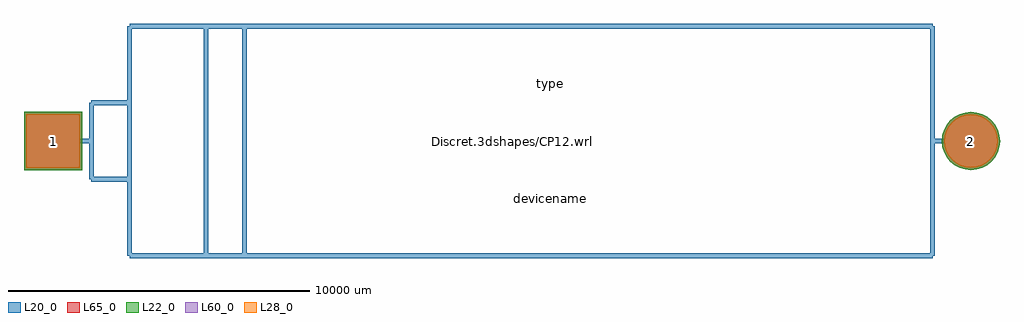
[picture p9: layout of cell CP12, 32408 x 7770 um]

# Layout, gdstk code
import gdstk
lib = gdstk.Library(unit=1e-6, precision=1e-09)
def R(c, l, rs):  # rectangles x0, y0, x1, y1
    for r in rs: c.add(gdstk.rectangle(r[:2], r[2:], *l))
def P(c, l, *ps):  # polygons
    for p in ps: c.add(gdstk.Polygon(p, *l))
L20_0 = (20, 0)
L22_0 = (22, 0)
L28_0 = (28, 0)
L60_0 = (60, 0)
L65_0 = (65, 0)

cp12 = lib.new_cell('CP12')
R(cp12, L22_0, [(-16204,-964,-14276,964)])
P(cp12, L22_0, [(16204,0),(16185.477,188.067),(16130.62,368.907),(16041.537,535.57),(15921.651,681.651),(15775.57,801.537),(15608.907,890.62),(15428.067,945.477),(15240,964),(15051.933,945.477),(14871.093,890.62),(14704.43,801.537),(14558.349,681.651),(14438.463,535.57),(14349.38,368.907),(14294.523,188.067),(14276,0),(14294.523,-188.067),(14349.38,-368.907),(14438.463,-535.57),(14558.349,-681.651),(14704.43,-801.537),(14871.093,-890.62),(15051.933,-945.477),(15240,-964),(15428.067,-945.477),(15608.907,-890.62),(15775.57,-801.537),(15921.651,-681.651),(16041.537,-535.57),(16130.62,-368.907),(16185.477,-188.067)])
R(cp12, L28_0, [(-16129,-889,-14351,889)])
P(cp12, L28_0, [(16129,0),(16111.918,173.435),(16061.329,340.206),(15979.176,493.902),(15868.618,628.618),(15733.902,739.176),(15580.206,821.329),(15413.435,871.918),(15240,889),(15066.565,871.918),(14899.794,821.329),(14746.098,739.176),(14611.382,628.618),(14500.824,493.902),(14418.671,340.206),(14368.082,173.435),(14351,0),(14368.082,-173.435),(14418.671,-340.206),(14500.824,-493.902),(14611.382,-628.618),(14746.098,-739.176),(14899.794,-821.329),(15066.565,-871.918),(15240,-889),(15413.435,-871.918),(15580.206,-821.329),(15733.902,-739.176),(15868.618,-628.618),(15979.176,-493.902),(16061.329,-340.206),(16111.918,-173.435)])
R(cp12, L60_0, [(-16129,-889,-14351,889)])
P(cp12, L60_0, [(16129,0),(16111.918,173.435),(16061.329,340.206),(15979.176,493.902),(15868.618,628.618),(15733.902,739.176),(15580.206,821.329),(15413.435,871.918),(15240,889),(15066.565,871.918),(14899.794,821.329),(14746.098,739.176),(14611.382,628.618),(14500.824,493.902),(14418.671,340.206),(14368.082,173.435),(14351,0),(14368.082,-173.435),(14418.671,-340.206),(14500.824,-493.902),(14611.382,-628.618),(14746.098,-739.176),(14899.794,-821.329),(15066.565,-871.918),(15240,-889),(15413.435,-871.918),(15580.206,-821.329),(15733.902,-739.176),(15868.618,-628.618),(15979.176,-493.902),(16061.329,-340.206),(16111.918,-173.435)])
R(cp12, L65_0, [(-16204,-964,-14276,964)])
P(cp12, L65_0, [(16204,0),(16185.477,188.067),(16130.62,368.907),(16041.537,535.57),(15921.651,681.651),(15775.57,801.537),(15608.907,890.62),(15428.067,945.477),(15240,964),(15051.933,945.477),(14871.093,890.62),(14704.43,801.537),(14558.349,681.651),(14438.463,535.57),(14349.38,368.907),(14294.523,188.067),(14276,0),(14294.523,-188.067),(14349.38,-368.907),(14438.463,-535.57),(14558.349,-681.651),(14704.43,-801.537),(14871.093,-890.62),(15051.933,-945.477),(15240,-964),(15428.067,-945.477),(15608.907,-890.62),(15775.57,-801.537),(15921.651,-681.651),(16041.537,-535.57),(16130.62,-368.907),(16185.477,-188.067)])
cp12.add(gdstk.FlexPath([(-12700,3810),(-12700,-3810)], 149.998, ends="flush", simple_path=True, layer=20, datatype=0))  # L20_0
cp12.add(gdstk.FlexPath([(-8890,3810),(-8890,-3810)], 149.998, ends="flush", simple_path=True, layer=20, datatype=0))  # L20_0
cp12.add(gdstk.FlexPath([(-10160,3810),(-10160,-3810)], 149.998, ends="flush", simple_path=True, layer=20, datatype=0))  # L20_0
cp12.add(gdstk.FlexPath([(13970,0),(15240,0)], 149.998, ends="flush", simple_path=True, layer=20, datatype=0))  # L20_0
cp12.add(gdstk.FlexPath([(13970,-3810),(-12700,-3810)], 149.998, ends="flush", simple_path=True, layer=20, datatype=0))  # L20_0
cp12.add(gdstk.FlexPath([(13970,3810),(13970,-3810)], 149.998, ends="flush", simple_path=True, layer=20, datatype=0))  # L20_0
cp12.add(gdstk.FlexPath([(-12700,3810),(13970,3810)], 149.998, ends="flush", simple_path=True, layer=20, datatype=0))  # L20_0
cp12.add(gdstk.FlexPath([(-13970,1270),(-12700,1270)], 149.998, ends="flush", simple_path=True, layer=20, datatype=0))  # L20_0
cp12.add(gdstk.FlexPath([(-13970,-1270),(-13970,1270)], 149.998, ends="flush", simple_path=True, layer=20, datatype=0))  # L20_0
cp12.add(gdstk.FlexPath([(-12700,-1270),(-13970,-1270)], 149.998, ends="flush", simple_path=True, layer=20, datatype=0))  # L20_0
cp12.add(gdstk.FlexPath([(-15240,0),(-13970,0)], 149.998, ends="flush", simple_path=True, layer=20, datatype=0))  # L20_0
cp12.add(gdstk.Label('Discret.3dshapes/CP12.wrl', (0,0), layer=12, texttype=0))
cp12.add(gdstk.Label('2', (15240,0), layer=28, texttype=0))
cp12.add(gdstk.Label('1', (-15240,0), layer=28, texttype=0))
cp12.add(gdstk.Label('type', (1270,1905), layer=9, texttype=0))
cp12.add(gdstk.Label('devicename', (1270,-1905), layer=9, texttype=0))

lib.write_gds('CP12.gds')
